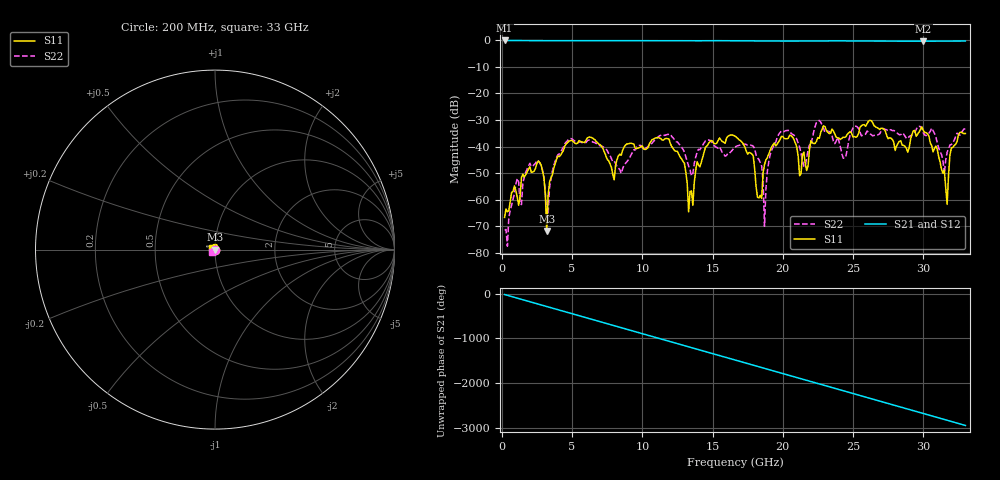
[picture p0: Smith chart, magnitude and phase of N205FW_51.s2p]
# GHZ S RI R 50
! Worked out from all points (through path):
!   329 points, 200 MHz to 33 GHz, reference 50 ohm
!   highest |S21| = -0.02 dB at 200 MHz (marker M1); lowest = -0.3 dB at 30 GHz (marker M2)
!   group delay of S21, straight-line fit = 248 ps
!   lowest |S11| = -71.8 dB at 3.2 GHz (marker M3), VSWR 1.00, Z = 50 + j0.0208 ohm
!   |S11| at or under -10 dB: start of sweep to end of sweep
!   |S22| runs from -77.5 to -30.1 dB; largest |S21 - S12| = 0.0022
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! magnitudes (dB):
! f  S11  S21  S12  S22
! 200 MHz  -66.7  0.0  0.0  -71.5
! 2.6 GHz  -45.4  -0.1  -0.1  -45.4
! 3.2 GHz  -71.8  -0.1  -0.1  -67.1
! 3.9 GHz  -44.7  -0.1  -0.1  -44.0
! 5.7 GHz  -38.3  -0.1  -0.1  -38.5
! 8 GHz  -52.5  -0.1  -0.1  -45.5
! 11.2 GHz  -36.8  -0.2  -0.2  -36.1
! 13 GHz  -46.4  -0.1  -0.1  -42.1
! 13.3 GHz  -64.6  -0.1  -0.1  -47.4
! 14.5 GHz  -40.2  -0.1  -0.1  -37.8
! 16.6 GHz  -36.0  -0.1  -0.1  -40.3
! 18.5 GHz  -59.5  -0.2  -0.2  -47.4
! 18.7 GHz  -46.8  -0.2  -0.2  -70.0
! 19 GHz  -42.9  -0.2  -0.2  -45.9
! 19.7 GHz  -38.3  -0.2  -0.2  -35.5
! 21.2 GHz  -51.0  -0.2  -0.2  -40.2
! 22.1 GHz  -38.6  -0.2  -0.2  -36.9
! 27.6 GHz  -36.7  -0.3  -0.3  -33.7
! 30 GHz  -33.9  -0.3  -0.3  -34.8
! 31.7 GHz  -61.8  -0.3  -0.3  -42.1
! 32 GHz  -40.5  -0.3  -0.3  -39.2
! 33 GHz  -35.1  -0.2  -0.2  -33.4
